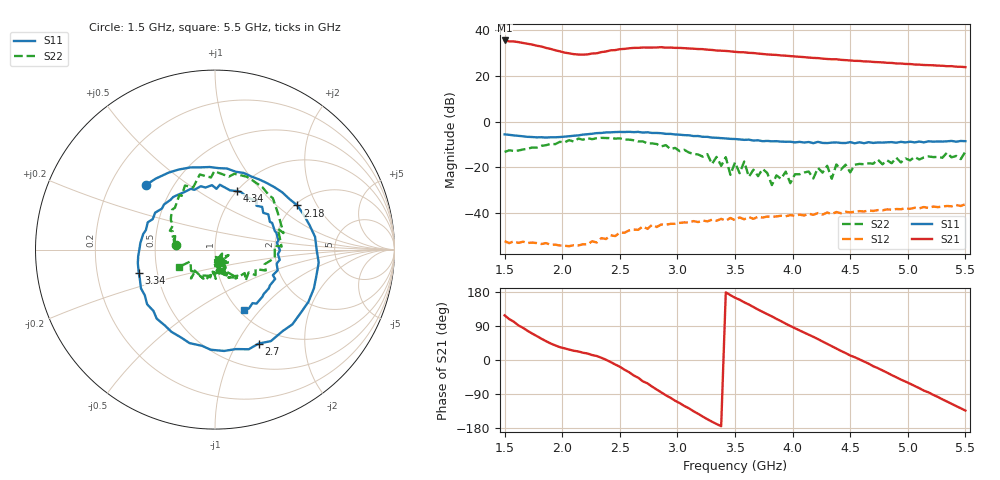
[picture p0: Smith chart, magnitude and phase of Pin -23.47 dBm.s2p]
! RsaToolbox (C) 2015 Rohde & Schwarz America
! Number of points: 101
! Number of ports: 2
! Balanced ports?: No
# Hz S RI R 50
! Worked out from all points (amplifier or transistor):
!   101 points, 1.5 GHz to 5.5 GHz, reference 50 ohm
!   highest |S21| = 35.5 dB at 1.5 GHz (marker M1)
!   |S21| within 3 dB of that: start of sweep to 1.843 GHz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
!   unconditionally stable (mu >= 1): start of sweep to end of sweep
!   at 2.14 GHz: K = 5.51, MAG = 31.3 dB, |S12| = -54.1 dB
!   at 3.5 GHz: K = 1.89, MAG = 31.3 dB, |S12| = -43.0 dB
!   at 5.5 GHz: K = 1.73, MAG = 25.0 dB, |S12| = -36.0 dB
!   S11 on the Smith chart (normalised r, x): 1.5 GHz: 0.35, +0.35; 2.18 GHz: 2.06, +1.39; 2.7 GHz: 0.79, -1.24; 3.34 GHz: 0.39, -0.13; 4.34 GHz: 1.00, +0.75; 5.5 GHz: 1.05, -0.83
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1.5e9  -0.3838 0.3605  -27.69 52.51  0.00161 -0.00184  -0.2163 0.0262
1.62e9  -0.2031 0.4459  -1.262 54.61  0.000907 -0.00206  -0.2218 0.0748
1.82e9  0.0657 0.452  24.46 36.3  -0.000116 -0.00212  -0.2458 0.1656
1.98e9  0.2447 0.3915  28.48 19.18  -0.000567 -0.00189  -0.199 0.3032
2.18e9  0.4589 0.2459  27.5 9.541  -0.000529 -0.00202  -0.0224 0.4019
2.34e9  0.5662 -0.000201  32.88 3.376  -0.00106 -0.00266  0.1761 0.4064
2.5e9  0.5204 -0.2914  36.5 -11.65  -0.00228 -0.003  0.322 0.2872
2.58e9  0.4313 -0.4163  33.84 -21.21  -0.00301 -0.00294  0.3505 0.2018
2.7e9  0.243 -0.5236  23.1 -34.58  -0.00446 -0.0026  0.3709 0.0169
2.86e9  -0.0236 -0.5579  3.374 -42.21  -0.0056 -0.000943  0.2765 -0.0815
3.02e9  -0.2437 -0.4576  -16.41 -37.34  -0.00591 0.00168  0.1871 -0.1272
3.14e9  -0.3429 -0.3418  -27.85 -27.64  -0.006 0.00304  0.1146 -0.1614
3.34e9  -0.4247 -0.1289  -35.16 -6.896  -0.00384 0.00565  0.0755 -0.1522
3.5e9  -0.4159 0.0368  -32.23 9.073  -0.002 0.00676  0.0191 -0.1273
3.7e9  -0.3338 0.2054  -20.99 22.42  0.0011 0.00831  0.0228 -0.0603
3.86e9  -0.2328 0.2933  -9.09 27.17  0.00387 0.00758  0.0174 -0.0647
4.18e9  0.00839 0.3386  11.89 21.63  0.00823 0.00415  -0.000245 -0.0573
4.34e9  0.1236 0.3259  18.57 13.7  0.00951 0.0015  0.0216 -0.0523
4.58e9  0.2627 0.2377  21.21 0.6748  0.0106 -0.00334  0.0576 -0.1046
4.86e9  0.3535 0.0511  14.74 -12.26  0.00719 -0.00954  -0.0133 -0.1228
5.18e9  0.3353 -0.1635  1.366 -17.1  0.000429 -0.013  -0.0639 -0.1618
5.5e9  0.1616 -0.3381  -10.68 -11.26  -0.00909 -0.0129  -0.2004 -0.0961
